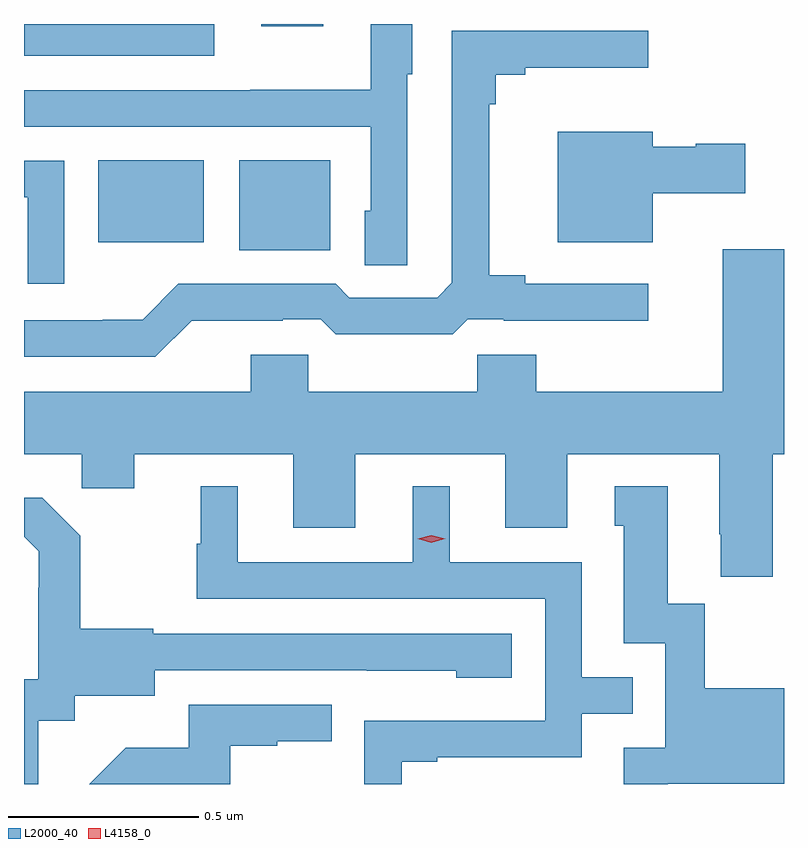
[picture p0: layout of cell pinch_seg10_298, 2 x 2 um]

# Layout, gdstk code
import gdstk
lib = gdstk.Library(unit=1e-6, precision=1e-09)
def R(c, l, rs):  # rectangles x0, y0, x1, y1
    for r in rs: c.add(gdstk.rectangle(r[:2], r[2:], *l))
def P(c, l, *ps):  # polygons
    for p in ps: c.add(gdstk.Polygon(p, *l))
L2000_40 = (2000, 40)
L4158_0 = (4158, 0)

pinch_seg10_298 = lib.new_cell('pinch_seg10_298')
R(pinch_seg10_298, L2000_40, [(499.4,1300.853,499.639,1301.089), (499.028,1300.874,499.306,1301.089), (498.833,1301.364,499.333,1301.448), (499.457,1301.442,499.621,1301.448)])
P(pinch_seg10_298, L2000_40, [(499.842,1301.316),(499.855,1301.316),(499.855,1301.448),(499.746,1301.448),(499.746,1301.275),(499.429,1301.275),(499.429,1301.274),(498.833,1301.274),(498.833,1301.178),(499.746,1301.178),(499.746,1300.956),(499.73,1300.956),(499.73,1300.813),(499.842,1300.813)],
  [(499.274,1300.667),(499.514,1300.667),(499.514,1300.671),(499.614,1300.671),(499.654,1300.632),(499.961,1300.632),(500.001,1300.671),(500.095,1300.671),(500.095,1300.667),(500.476,1300.667),(500.476,1300.764),(500.152,1300.764),(500.152,1300.787),(500.057,1300.787),(500.057,1301.237),(500.075,1301.237),(500.075,1301.314),(500.152,1301.314),(500.152,1301.333),(500.476,1301.333),(500.476,1301.43),(499.959,1301.43),(499.959,1300.767),(499.92,1300.728),(499.689,1300.728),(499.653,1300.764),(499.239,1300.764),(499.145,1300.67),(499.04,1300.67),(499.04,1300.668),(498.833,1300.668),(498.833,1300.572),(499.179,1300.572)],
  [(500.488,1301.003),(500.731,1301.003),(500.731,1301.133),(500.601,1301.133),(500.601,1301.125),(500.488,1301.125),(500.488,1301.164),(500.237,1301.164),(500.237,1300.874),(500.488,1300.874)],
  [(498.939,1301.088),(498.833,1301.088),(498.833,1300.992),(498.843,1300.992),(498.843,1300.764),(498.939,1300.764)],
  [(500.803,1300.316),(500.833,1300.316),(500.833,1300.855),(500.672,1300.855),(500.672,1300.48),(500.181,1300.48),(500.181,1300.578),(500.026,1300.578),(500.026,1300.48),(499.581,1300.48),(499.581,1300.578),(499.43,1300.578),(499.43,1300.48),(498.833,1300.48),(498.833,1300.316),(498.985,1300.316),(498.985,1300.226),(499.123,1300.226),(499.123,1300.316),(499.541,1300.316),(499.541,1300.122),(499.705,1300.122),(499.705,1300.316),(500.099,1300.316),(500.099,1300.122),(500.263,1300.122),(500.263,1300.316),(500.663,1300.316),(500.663,1300.105),(500.666,1300.105),(500.666,1299.993),(500.803,1299.993)],
  [(499.827,1299.507),(499.921,1299.507),(499.921,1299.519),(500.301,1299.519),(500.301,1299.633),(500.435,1299.633),(500.435,1299.729),(500.301,1299.729),(500.301,1300.032),(499.954,1300.032),(499.954,1300.231),(499.856,1300.231),(499.856,1300.032),(499.396,1300.032),(499.396,1300.231),(499.298,1300.231),(499.298,1300.08),(499.287,1300.08),(499.287,1299.936),(500.205,1299.936),(500.205,1299.615),(499.728,1299.615),(499.728,1299.448),(499.827,1299.448)],
  [(500.527,1299.449),(500.833,1299.449),(500.833,1299.7),(500.625,1299.7),(500.625,1299.923),(500.527,1299.923),(500.527,1300.231),(500.387,1300.231),(500.387,1300.128),(500.411,1300.128),(500.411,1299.819),(500.52,1299.819),(500.52,1299.543),(500.411,1299.543),(500.411,1299.448),(500.527,1299.448)],
  [(498.871,1299.614),(498.966,1299.614),(498.966,1299.68),(499.177,1299.68),(499.177,1299.747),(499.735,1299.747),(499.735,1299.746),(499.971,1299.746),(499.971,1299.728),(500.116,1299.728),(500.116,1299.843),(499.173,1299.843),(499.173,1299.856),(498.981,1299.856),(498.981,1300.101),(498.881,1300.201),(498.833,1300.201),(498.833,1300.099),(498.872,1300.06),(498.872,1299.965),(498.87,1299.965),(498.87,1299.724),(498.833,1299.724),(498.833,1299.448),(498.871,1299.448)],
  [(499.376,1299.549),(499.499,1299.549),(499.499,1299.56),(499.643,1299.56),(499.643,1299.657),(499.266,1299.657),(499.266,1299.544),(499.101,1299.544),(499.005,1299.448),(499.376,1299.448)])
P(pinch_seg10_298, L4158_0, [(499.905,1300.083),(499.869,1300.093),(499.869,1300.093),(499.869,1300.093),(499.905,1300.103),(499.941,1300.093),(499.941,1300.093),(499.941,1300.093)])

lib.write_gds('pinch_seg10_298.gds')
